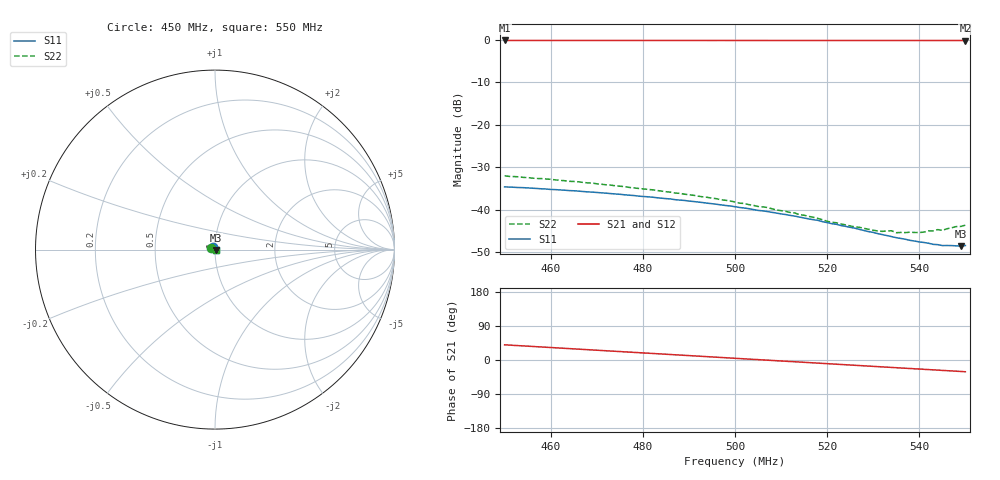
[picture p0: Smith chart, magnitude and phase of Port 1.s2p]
! RsaToolbox (C) 2014 Rohde & Schwarz America
! Number of points: 101
! Number of ports: 2
! Balanced ports?: No
# Hz S RI R 50
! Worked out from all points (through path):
!   101 points, 450 MHz to 550 MHz, reference 50 ohm
!   highest |S21| = -0.13 dB at 450 MHz (marker M1); lowest = -0.1 dB at 550 MHz (marker M2)
!   group delay of S21, straight-line fit = 1.97 ns
!   lowest |S11| = -48.6 dB at 549 MHz (marker M3), VSWR 1.01, Z = 50.3 - j0.211 ohm
!   |S11| at or under -10 dB: start of sweep to end of sweep
!   |S22| runs from -45.4 to -32.0 dB; largest |S21 - S12| = 0
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4.5e8  -0.0107 0.0152  0.7546 0.6341  0.7546 0.6341  -0.0228 0.0104
4.67e8  -0.00564 0.0154  0.8703 0.4622  0.8703 0.4622  -0.0164 0.013
4.84e8  -0.000989 0.0136  0.9476 0.2699  0.9476 0.2699  -0.00935 0.0137
4.94e8  0.00123 0.0119  0.9735 0.1506  0.9735 0.1506  -0.00552 0.0128
5e8  0.00234 0.0106  0.982 0.0779  0.982 0.0779  -0.00334 0.0119
5.05e8  0.00311 0.00929  0.9849 0.0169  0.9849 0.0169  -0.00174 0.0108
5.07e8  0.00339 0.00888  0.985 -0.00754  0.985 -0.00754  -0.00101 0.0106
5.09e8  0.00371 0.00833  0.9845 -0.0319  0.9845 -0.0319  -0.000262 0.00992
5.13e8  0.00404 0.00735  0.9816 -0.0807  0.9816 -0.0807  0.00064 0.00911
5.14e8  0.00419 0.00703  0.9805 -0.0929  0.9805 -0.0929  0.00103 0.00865
5.17e8  0.00439 0.00622  0.9763 -0.1293  0.9763 -0.1293  0.0018 0.00793
5.2e8  0.00457 0.00536  0.9708 -0.1655  0.9708 -0.1655  0.00238 0.00689
5.31e8  0.00465 0.00237  0.9392 -0.2959  0.9392 -0.2959  0.00441 0.00345
5.34e8  0.00454 0.00158  0.9275 -0.3306  0.9275 -0.3306  0.00506 0.00248
5.35e8  0.0045 0.00129  0.9233 -0.3421  0.9233 -0.3421  0.00494 0.00205
5.4e8  0.00417 7.76e-05  0.9003 -0.3987  0.9003 -0.3987  0.00538 0.000117
5.43e8  0.00384 -0.000701  0.8849 -0.4318  0.8849 -0.4318  0.00554 -0.000939
5.44e8  0.00375 -0.000971  0.8794 -0.4427  0.8794 -0.4427  0.00565 -0.00141
5.45e8  0.0036 -0.00115  0.8738 -0.4536  0.8738 -0.4536  0.00552 -0.00145
5.48e8  0.00325 -0.00186  0.8563 -0.4857  0.8563 -0.4857  0.00579 -0.00254
5.49e8  0.00306 -0.0021  0.8502 -0.4963  0.8502 -0.4963  0.00561 -0.00296
5.5e8  0.00295 -0.00236  0.844 -0.5068  0.844 -0.5068  0.00566 -0.00333
